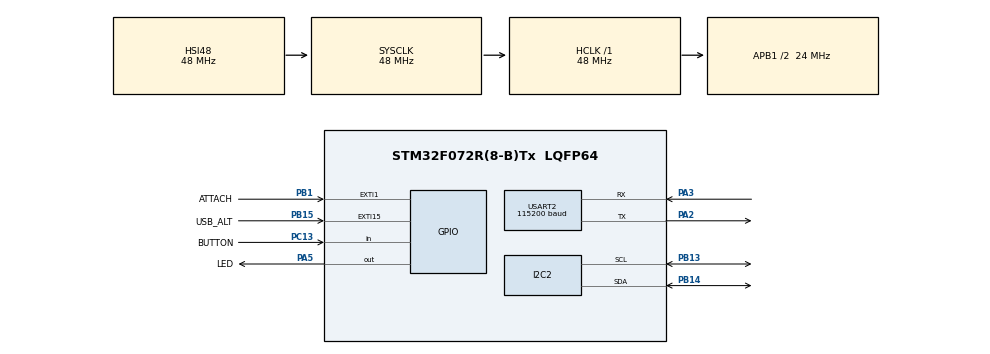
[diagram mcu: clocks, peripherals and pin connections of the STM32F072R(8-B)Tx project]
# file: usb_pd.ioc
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I2C2.Timing=0x00506682
Mcu.Family=STM32F0
Mcu.Name=STM32F072R(8-B)Tx
Mcu.Package=LQFP64
NVIC.EXTI0_1_IRQn=true\:1\:0\:true\:false\:true\:true\:true
NVIC.EXTI4_15_IRQn=true\:2\:0\:true\:false\:true\:true\:true
PA2.Mode=Asynchronous
PA2.Signal=USART2_TX
PA3.Mode=Asynchronous
PA3.Signal=USART2_RX
PA5.GPIO_Label=LED
PA5.Signal=GPIO_Output
PB1.GPIO_Label=ATTACH
PB1.GPIO_ModeDefaultEXTI=GPIO_MODE_IT_RISING_FALLING
PB1.GPIO_PuPd=GPIO_PULLUP
PB1.Signal=GPXTI1
PB13.Mode=I2C
PB13.Signal=I2C2_SCL
PB14.Mode=I2C
PB14.Signal=I2C2_SDA
PB15.GPIO_Label=USB_ALT
PB15.GPIO_ModeDefaultEXTI=GPIO_MODE_IT_FALLING
PB15.GPIO_PuPd=GPIO_PULLUP
PB15.Signal=GPXTI15
PC13.GPIO_Label=BUTTON
PC13.Signal=GPIO_Input
ProjectManager.HeapSize=0x200
ProjectManager.StackSize=0x400
ProjectManager.TargetToolchain=STM32CubeIDE
RCC.AHBFreq_Value=48000000
RCC.APB1CLKDivider=RCC_HCLK_DIV2
RCC.APB1Freq_Value=24000000
RCC.APB1TimFreq_Value=48000000
RCC.HCLKFreq_Value=48000000
RCC.SYSCLKFreq_VALUE=48000000
RCC.SYSCLKSource=RCC_SYSCLKSOURCE_HSI48
USART2.BaudRate=115200
USART2.VirtualMode-Asynchronous=VM_ASYNC
board=NUCLEO-F072RB

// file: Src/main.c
/* USER CODE BEGIN Header */

/*
 * The general idea of this program is to test/negotiate different USB PD power levels
 * This is how we'll do it:
 * IN AN INTERRUPT CONTEXT
 * 		- when the attach line goes low, we'll call the pd_onAttach() function
 * 			- this initializes the STUSB4500 and asserts an internal flag *
 * 		- when the alert line goes low, we'll call the pd_onAlert() function
 * 			- follow the instructions taken from the sample code
 * 			- update the flag variables as appropriate
 *
 *	IN THE MAIN LOOP:
 *		- when we're not attached, we'll sit in an idle loop (checked by reading pd_attached())
 *			- simple conditional
 *		- on the rising edge of attached
 *			- call pd_auto_nego()
 *			- THIS IS A BLOCKING CALL (which should be fine depending on how we structure our code)
 *				- may need to set a timeout in here
 * 		- once we're properly attached and operating on a PDO
 * 			- check every now and then that the RDO that we have is valid
 * 			- read the attach line to check if we're still attached (if we somehow missed the rising edge)
 * 			- check the attached
 * 				- if any one of these are false, call the pd_onDetach() function
 * 		- on the falling edge of attached
 * 			- don't think we need to do anything here
 *
 *	THE pd_auto_nego WORKS BY:
 *		- clearing the pdo_received flag
 *		- send a soft_reset command
 *		- waiting (WITH A TIMEOUT) until the pdo_received flag goes high
 *			- might retry the soft reset a couple times if we don't receive PDOs, we'll see
 *		- check all the PDOs, see which one matches the best
 *		- reset the accept_received flag
 *		- select that particular PDO by calling the pd_request_pdo_index() function
 *		- waiting (WITH A TIMEOUT) until the accept_received or reject_received flag goes high
 *			- will retry the negotiation a couple times if we timeout or get a reject message
 *		- update the pointer variables with the voltage, current, and power negotiated
 *
 * 	IN THE EVENT THAT WE GET ANY SORT OF I2C FAILURE
 * 		- uhhhh honestly not sure, need to think about this more
 */

/**
  ******************************************************************************
  * @file           : main.c
  * @brief          : Main program body
  ******************************************************************************
  * @attention
  *
  * <h2><center>&copy; Copyright (c) 2019 STMicroelectronics.
  * All rights reserved.</center></h2>
  *
  * This software component is licensed by ST under BSD 3-Clause license,
  * the "License"; You may not use this file except in compliance with the
  * License. You may obtain a copy of the License at:
  *                        opensource.org/licenses/BSD-3-Clause
  *
  ******************************************************************************
  */
/* USER CODE END Header */

#include "main.h"
#include "i2c.h"
#include "usart.h"
#include "gpio.h"

/* USER CODE BEGIN Includes */
#include "stusb_regdefs.h"
#include "stusb4500.h"
#include "printf_override.h"
#include "stdbool.h"
/* USER CODE END Includes */

/* USER CODE BEGIN PV */
bool last_attach;
UART_HandleTypeDef huart2;

/* USER CODE END PV */

void SystemClock_Config(void);

int main(void)
{

  /* MCU Configuration--------------------------------------------------------*/

  /* Reset of all peripherals, Initializes the Flash interface and the Systick. */
  HAL_Init();

  /* Configure the system clock */
  SystemClock_Config();

  /* Initialize all configured peripherals */
  MX_GPIO_Init();
  MX_I2C2_Init();
  MX_USART2_UART_Init();
  /* USER CODE BEGIN 2 */
  printf("\r\nStarting...\r\n");
  /* USER CODE END 2 */

  /* Infinite loop */
  /* USER CODE BEGIN WHILE */
  while (1)
  {
	  //we just got attached
	  bool attached = pd_attached(); //read attachment status once per loop -> interrupt safe
	  if(!last_attach && attached) {
		  printf("Starting Negotiation!\n");
		  float voltage, current, power;
		  HAL_StatusTypeDef status;

		  status = pd_auto_nego(&voltage, &current, &power);
		  if(status == HAL_OK) {
			  printf("Negotiation Successful!\n");
			  //https://stackoverflow.com/questions/28334435/stm32-printf-float-variable
			  printf("\tVoltage: %.2f\n", voltage); //had to add "-u _printf_float" to linker flags
			  printf("\tCurrent: %.2f\n", current);
			  printf("\tPower: %.2f\n", power);
		  }
		  else if(status == HAL_TIMEOUT) {
			  printf("Negotiation Timed Out!\n");
		  }
		  else if(status == HAL_BUSY) {
			  printf("Negotiation returned busy\n");
		  }
		  else if(status == HAL_ERROR) {
			  printf("Negotiation Error!\n");
		  }
	  }
	  last_attach = attached;

    /* USER CODE END WHILE */

  }
}

void SystemClock_Config(void)
{
  RCC_OscInitTypeDef RCC_OscInitStruct = {0};
  RCC_ClkInitTypeDef RCC_ClkInitStruct = {0};
  RCC_PeriphCLKInitTypeDef PeriphClkInit = {0};

  /** Initializes the CPU, AHB and APB busses clocks
  */
  RCC_OscInitStruct.OscillatorType = RCC_OSCILLATORTYPE_HSI48;
  RCC_OscInitStruct.HSI48State = RCC_HSI48_ON;
  RCC_OscInitStruct.PLL.PLLState = RCC_PLL_NONE;
  if (HAL_RCC_OscConfig(&RCC_OscInitStruct) != HAL_OK)
  {
    Error_Handler();
  }
  /** Initializes the CPU, AHB and APB busses clocks
  */
  RCC_ClkInitStruct.ClockType = RCC_CLOCKTYPE_HCLK|RCC_CLOCKTYPE_SYSCLK
                              |RCC_CLOCKTYPE_PCLK1;
  RCC_ClkInitStruct.SYSCLKSource = RCC_SYSCLKSOURCE_HSI48;
  RCC_ClkInitStruct.AHBCLKDivider = RCC_SYSCLK_DIV1;
  RCC_ClkInitStruct.APB1CLKDivider = RCC_HCLK_DIV2;

  if (HAL_RCC_ClockConfig(&RCC_ClkInitStruct, FLASH_LATENCY_1) != HAL_OK)
  {
    Error_Handler();
  }
  PeriphClkInit.PeriphClockSelection = RCC_PERIPHCLK_USART2;
  PeriphClkInit.Usart2ClockSelection = RCC_USART2CLKSOURCE_PCLK1;
  if (HAL_RCCEx_PeriphCLKConfig(&PeriphClkInit) != HAL_OK)
  {
    Error_Handler();
  }
}

/* USER CODE BEGIN 4 */
void HAL_GPIO_EXTI_Callback(uint16_t GPIO_Pin)
{
    if (GPIO_Pin == ATTACH_Pin) {
    	if(!HAL_GPIO_ReadPin(ATTACH_GPIO_Port, GPIO_Pin)) { //x:0-15
    		pd_onAttach(); //will automatically time out if this is unsuccessful
    	} else {
    		pd_onDetach(); //only runs when a source has been attached
    	}
    }

    if (GPIO_Pin == USB_ALT_Pin) {
    	pd_onAlert();
    }
}
/* USER CODE END 4 */

void Error_Handler(void)
{
}

/************************ (C) COPYRIGHT STMicroelectronics *****END OF FILE****/
